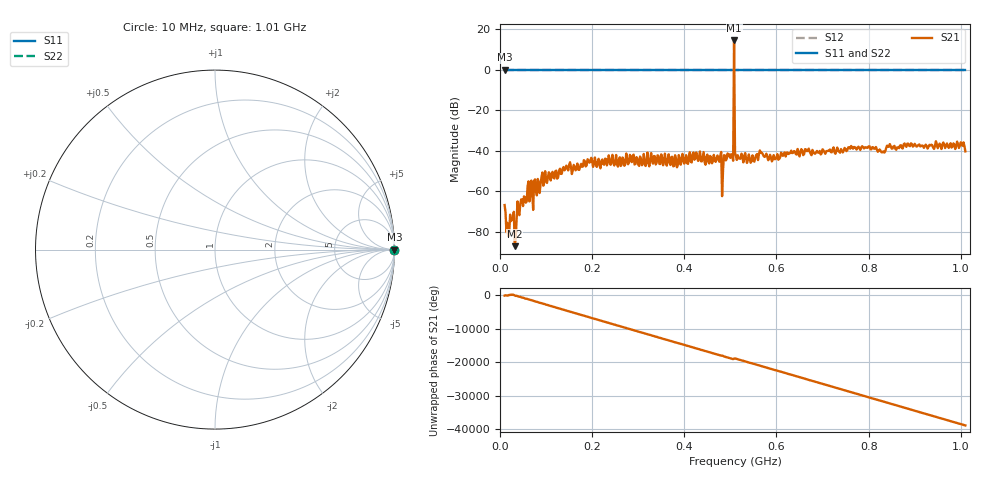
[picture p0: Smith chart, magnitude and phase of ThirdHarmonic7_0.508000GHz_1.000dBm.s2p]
! 8/17/2025 2:41:14 PM
! C:\ANRITSUVNA\TEMP\TEMP.S2P
! CHANNEL.1
! TR.MEASUREMENT
! RAW.DATA
! RF.CORRECTION.OFF
! AVERAGING.OFF
! IF.BANDWIDTH: 5KHZ
! SWEEPTYPE:  FREQ.SWEEP(Linear)
! Reference Plane Port Info
! PORT:  PORT1  PORT2
! DISTANCE:  0  m  0  m
! TIME:  0  s  0  s
! PHASE.OFFSET:  0  deg.  0  deg.
! LOSS:  0  dB  0  dB
! REF.LOSS:  0  dB  0  dB
! REF.FREQ:  0  Hz  0  Hz
! Power Info
! POWER:  -20  dBm  -20  dBm
! EFF.POWER:  -20  dBm  -20  dBm
! SOURCE.ATTEN:  0  dB  0  dB
! TEST.ATTEN:  0  dB  0  dB
# GHZ S RI R 50.0
! FREQ.GHZ  S11RE  S11IM  S21RE  S21IM  S12RE  S12IM  S22RE  S22IM
!; PortSelection: Port_12
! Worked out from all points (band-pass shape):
!   501 points, 10 MHz to 1.01 GHz, reference 50 ohm
!   highest |S21| = 14.42 dB at 508 MHz (marker M1); lowest = -87.2 dB at 32 MHz (marker M2)
!   |S21| within 3 dB of the highest: 507.8991 MHz to 508.1081 MHz (209 kHz wide, 0.0411 % of centre)
!   lowest |S11| = 0.0 dB at 10 MHz (marker M3)
!   |S11| at or under -10 dB: nowhere
!   |S22| runs from 0.0 to 0.0 dB; largest |S21 - S12| = 5.7
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0.01  1 0  0.000212 -0.000397  1 0  1 0
0.016  1 0  8.16e-05 -0.000142  1 0  1 0
0.026  1 0  -0.000158 0.00012  1 0  1 0
0.032  1 0  1.17e-05 -4.18e-05  1 0  1 0
0.064  1 0  -0.000395 0.000388  1 0  1 0
0.068  1 0  0.00176 -0.000427  1 0  1 0
0.094  1 0  0.00136 -4.73e-05  1 0  1 0
0.178  1 0  -0.00393 -0.000528  1 0  1 0
0.344  1 0  0.00665 -0.00316  1 0  1 0
0.476  1 0  -0.00252 0.00465  1 0  1 0
0.48  1 0  0.00531 -0.00757  1 0  1 0
0.486  1 0  0.00143 0.00754  1 0  1 0
0.49  1 0  -0.00097 -0.00563  1 0  1 0
0.502  1 0  -0.00739 0.00337  1 0  1 0
0.504  1 0  0.00424 0.00612  1 0  1 0
0.508  1 0  -1.709 4.977  1 0  1 0
0.51  1 0  -0.00856 -0.00209  1 0  1 0
0.512  1 0  -0.00109 0.00726  1 0  1 0
0.514  1 0  0.00489 0.00326  1 0  1 0
0.678  1 0  0.00556 -0.00879  1 0  1 0
0.844  1 0  -0.00637 0.0106  1 0  1 0
1.01  1 0  0.00204 -0.00931  1 0  1 0
